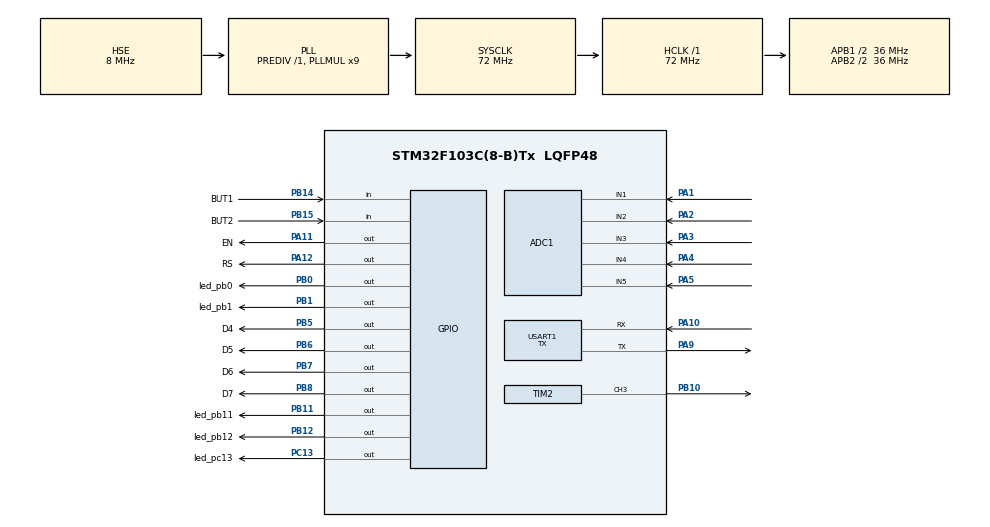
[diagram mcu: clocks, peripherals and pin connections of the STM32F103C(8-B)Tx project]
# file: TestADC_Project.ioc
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ADC1.Channel-0\#ChannelRegularConversion=ADC_CHANNEL_1
ADC1.Channel-1\#ChannelRegularConversion=ADC_CHANNEL_2
ADC1.Channel-2\#ChannelRegularConversion=ADC_CHANNEL_3
ADC1.Channel-3\#ChannelRegularConversion=ADC_CHANNEL_4
ADC1.Channel-4\#ChannelRegularConversion=ADC_CHANNEL_5
ADC1.Channel-5\#ChannelRegularConversion=ADC_CHANNEL_TEMPSENSOR
ADC1.ExternalTrigConv=ADC_EXTERNALTRIGCONV_T3_TRGO
ADC1.NbrOfConversion=6
ADC1.NbrOfConversionFlag=1
ADC1.Rank-0\#ChannelRegularConversion=1
ADC1.Rank-1\#ChannelRegularConversion=2
ADC1.Rank-2\#ChannelRegularConversion=3
ADC1.Rank-3\#ChannelRegularConversion=4
ADC1.Rank-4\#ChannelRegularConversion=5
ADC1.Rank-5\#ChannelRegularConversion=6
ADC1.SamplingTime-0\#ChannelRegularConversion=ADC_SAMPLETIME_1CYCLE_5
ADC1.SamplingTime-1\#ChannelRegularConversion=ADC_SAMPLETIME_1CYCLE_5
ADC1.SamplingTime-2\#ChannelRegularConversion=ADC_SAMPLETIME_1CYCLE_5
ADC1.SamplingTime-3\#ChannelRegularConversion=ADC_SAMPLETIME_1CYCLE_5
ADC1.SamplingTime-4\#ChannelRegularConversion=ADC_SAMPLETIME_1CYCLE_5
ADC1.SamplingTime-5\#ChannelRegularConversion=ADC_SAMPLETIME_41CYCLES_5
ADC1.master=1
Dma.ADC1.0.Direction=DMA_PERIPH_TO_MEMORY
Dma.ADC1.0.Instance=DMA1_Channel1
Dma.ADC1.0.MemDataAlignment=DMA_MDATAALIGN_HALFWORD
Dma.ADC1.0.MemInc=DMA_MINC_ENABLE
Dma.ADC1.0.Mode=DMA_CIRCULAR
Dma.ADC1.0.PeriphDataAlignment=DMA_PDATAALIGN_HALFWORD
Dma.ADC1.0.PeriphInc=DMA_PINC_DISABLE
Dma.ADC1.0.Priority=DMA_PRIORITY_MEDIUM
Dma.Request0=ADC1
Dma.Request1=USART1_TX
Dma.USART1_TX.1.Direction=DMA_MEMORY_TO_PERIPH
Dma.USART1_TX.1.Instance=DMA1_Channel4
Dma.USART1_TX.1.MemDataAlignment=DMA_MDATAALIGN_BYTE
Dma.USART1_TX.1.MemInc=DMA_MINC_ENABLE
Dma.USART1_TX.1.Mode=DMA_NORMAL
Dma.USART1_TX.1.PeriphDataAlignment=DMA_PDATAALIGN_BYTE
Dma.USART1_TX.1.PeriphInc=DMA_PINC_DISABLE
Dma.USART1_TX.1.Priority=DMA_PRIORITY_LOW
Mcu.Family=STM32F1
Mcu.Name=STM32F103C(8-B)Tx
Mcu.Package=LQFP48
NVIC.DMA1_Channel1_IRQn=true\:0\:0\:false\:false\:true\:false\:true\:true
NVIC.DMA1_Channel4_IRQn=true\:0\:0\:false\:false\:true\:false\:true\:true
NVIC.PriorityGroup=NVIC_PRIORITYGROUP_4
NVIC.TIM1_UP_IRQn=true\:0\:0\:false\:false\:true\:true\:true\:true
NVIC.TIM3_IRQn=true\:0\:0\:false\:false\:true\:true\:true\:true
NVIC.TIM4_IRQn=true\:0\:0\:true\:false\:true\:true\:true\:true
NVIC.USART1_IRQn=true\:0\:0\:false\:false\:true\:true\:true\:true
PA1.Signal=ADCx_IN1
PA10.Mode=Asynchronous
PA10.Signal=USART1_RX
PA11.GPIO_Label=EN
PA11.GPIO_Speed=GPIO_SPEED_FREQ_HIGH
PA11.Signal=GPIO_Output
PA12.GPIO_Label=RS
PA12.GPIO_Speed=GPIO_SPEED_FREQ_HIGH
PA12.Signal=GPIO_Output
PA2.Signal=ADCx_IN2
PA3.Signal=ADCx_IN3
PA4.Signal=ADCx_IN4
PA5.Signal=ADCx_IN5
PA9.Mode=Asynchronous
PA9.Signal=USART1_TX
PB0.GPIO_Label=led_pb0
PB0.Signal=GPIO_Output
PB1.GPIO_Label=led_pb1
PB1.Signal=GPIO_Output
PB10.Signal=S_TIM2_CH3
PB11.GPIO_Label=led_pb11
PB11.Signal=GPIO_Output
PB12.GPIO_Label=led_pb12
PB12.Signal=GPIO_Output
PB14.GPIO_Label=BUT1
PB14.GPIO_PuPd=GPIO_PULLUP
PB14.Signal=GPIO_Input
PB15.GPIO_Label=BUT2
PB15.GPIO_PuPd=GPIO_PULLUP
PB15.Signal=GPIO_Input
PB5.GPIO_Label=D4
PB5.GPIO_Speed=GPIO_SPEED_FREQ_HIGH
PB5.Signal=GPIO_Output
PB6.GPIO_Label=D5
PB6.GPIO_Speed=GPIO_SPEED_FREQ_HIGH
PB6.Signal=GPIO_Output
PB7.GPIO_Label=D6
PB7.GPIO_Speed=GPIO_SPEED_FREQ_HIGH
PB7.Signal=GPIO_Output
PB8.GPIO_Label=D7
PB8.Signal=GPIO_Output
PC13-TAMPER-RTC.GPIO_Label=led_pc13
PC13-TAMPER-RTC.Signal=GPIO_Output
PD0-OSC_IN.Mode=HSE-External-Oscillator
PD0-OSC_IN.Signal=RCC_OSC_IN
PD1-OSC_OUT.Mode=HSE-External-Oscillator
PD1-OSC_OUT.Signal=RCC_OSC_OUT
ProjectManager.HeapSize=0x200
ProjectManager.StackSize=0x400
ProjectManager.TargetToolchain=STM32CubeIDE
RCC.ADCPresc=RCC_ADCPCLK2_DIV4
RCC.AHBFreq_Value=72000000
RCC.APB1CLKDivider=RCC_HCLK_DIV2
RCC.APB1Freq_Value=36000000
RCC.APB1TimFreq_Value=72000000
RCC.APB2CLKDivider=RCC_HCLK_DIV2
RCC.APB2Freq_Value=36000000
RCC.APB2TimFreq_Value=72000000
RCC.HCLKFreq_Value=72000000
RCC.PLLMUL=RCC_PLL_MUL9
RCC.PLLSourceVirtual=RCC_PLLSOURCE_HSE
RCC.SYSCLKFreq_VALUE=72000000
RCC.SYSCLKSource=RCC_SYSCLKSOURCE_PLLCLK
RCC.USBFreq_Value=72000000
SH.ADCx_IN1.0=ADC1_IN1,IN1
SH.ADCx_IN2.0=ADC1_IN2,IN2
SH.ADCx_IN3.0=ADC1_IN3,IN3
SH.ADCx_IN4.0=ADC1_IN4,IN4
SH.ADCx_IN5.0=ADC1_IN5,IN5
SH.S_TIM2_CH3.0=TIM2_CH3,PWM Generation3 CH3
TIM1.Period=999
TIM1.Prescaler=720
TIM1.TIM_MasterOutputTrigger=TIM_TRGO_UPDATE
TIM2.Channel-PWM\ Generation3\ CH3=TIM_CHANNEL_3
TIM2.Period=4096
TIM2.Prescaler=72
TIM3.Period=9
TIM3.Prescaler=720
TIM3.TIM_MasterOutputTrigger=TIM_TRGO_UPDATE
TIM4.Period=200
TIM4.Prescaler=7200
TIM4.TIM_MasterOutputTrigger=TIM_TRGO_UPDATE
USART1.Mode=MODE_TX
USART1.VirtualMode=VM_ASYNC
VP_ADC1_TempSens_Input.Mode=IN-TempSens
VP_TIM1_VS_ClockSourceINT.Mode=Internal
VP_TIM3_VS_ClockSourceINT.Mode=Internal
VP_TIM4_VS_ClockSourceINT.Mode=Internal
board=custom

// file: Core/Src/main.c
/* USER CODE BEGIN Header */
/**
  ******************************************************************************
  * @file           : main.c
  * @brief          : Main program body
  ******************************************************************************
  * @attention
  *
  * Copyright (c) 2025 STMicroelectronics.
  * All rights reserved.
  *
  * This software is licensed under terms that can be found in the LICENSE file
  * in the root directory of this software component.
  * If no LICENSE file comes with this software, it is provided AS-IS.
  *
  ******************************************************************************
  */
/* USER CODE END Header */
#include "main.h"

/* USER CODE BEGIN Includes */

#include <string.h>
#include <stdio.h>
#include "lcd.h"

/* USER CODE END Includes */

/* USER CODE BEGIN PD */

#define tV_25   1.34f	// Напряжение (в вольтах) на датчике при температуре 25 °C.
#define tSlope  0.0043f	// изменение напряжения (в вольтах) при изменении температуры на градус.
#define Vref    3.3f	// Образцовое напряжение АЦП (в вольтах).

#define ADC_SAMPLES 50	// Кол-во отсчётов которые нужно накопить для усреднения
#define CHANNELS_CNT 6	// Кол-во кактивных аналов АЦП участвующих в получении значений

#define UART_TIMER_CNT 50	// Период в отсчётах по 20мс для выдачи информации АЦП по UART1
#define LCD_MS_TIMEOUT 500	// Период в мс выдачи информации по LCD1602

typedef enum {	// Для хранения состояния кнопок BTN1, BTN2
	NO_PRESS,
	PRESS,
	RELEASE
} BTN_STATE;

/* USER CODE END PD */

ADC_HandleTypeDef hadc1;
DMA_HandleTypeDef hdma_adc1;

TIM_HandleTypeDef htim1;
TIM_HandleTypeDef htim2;
TIM_HandleTypeDef htim3;
TIM_HandleTypeDef htim4;

UART_HandleTypeDef huart1;
DMA_HandleTypeDef hdma_usart1_tx;

/* USER CODE BEGIN PV */

// Буфер для получения определённого кол-ва значений со всех активных каналов АЦП
// (*2) для того чтобы можно было использовать прерывания по половине заполнения буфера и по целому буферу
uint16_t adc_buffer[ADC_SAMPLES * CHANNELS_CNT * 2] = {0};
float adc1_v, adc2_v, adc3_v, adc4_v, adc5_v;	// Для хранения усреднённых значений АЦП по 5 каналам
float adc_temperature;	// и температурному датчику
uint8_t but1_shift_reg = 0, but2_shift_reg = 0;	// Сдвиговые регистры для отслеживания нажатий\отпусканий кнопок
BTN_STATE btn1_state = NO_PRESS, btn2_state = NO_PRESS;	// Текущее состояние кнопок
char buf[100];	// буфер для UART-строки(с нажатием\отжатием кнопок) с запасом по кол-ву символов
uint8_t size;	// Для подсчёта текущей	 длины строки UART
char uart_buf[100];	// буфер для UART-строки(с усреднениями АЦП) с запасом по кол-ву символов
uint8_t uart_size;	// Для подсчёта текущей	 длины строки UART(с усреднениями АЦП)
uint8_t timer4_counter = 0;	// Счётчик кол-ва срабатываний Таймера4
uint8_t uart_mutex = 1;	// Мьютекс разрешения передачи через UART

/* USER CODE END PV */

void SystemClock_Config(void);
static void MX_GPIO_Init(void);
static void MX_DMA_Init(void);
static void MX_USART1_UART_Init(void);
static void MX_TIM1_Init(void);
static void MX_TIM3_Init(void);
static void MX_ADC1_Init(void);
static void MX_TIM2_Init(void);
static void MX_TIM4_Init(void);

/* USER CODE BEGIN 0 */

// Усреднение значений АЦП из половины кольцевого буфера
void averaging_adc_values(uint16_t *buffer) {

    uint32_t sum[6] = {0,0,0,0,0,0};	// Для целочисленных сумм значений соответствующих каналов
    uint16_t pwm_value;	// Для новой скважности PWM

    for (int i = 0; i < ADC_SAMPLES; i++) {
    	sum[0] += buffer[i * CHANNELS_CNT];	// Суммируем значения полученные от канала за все отсчёты
    	sum[1] += buffer[1 + i * CHANNELS_CNT];
    	sum[2] += buffer[2 + i * CHANNELS_CNT];
    	sum[3] += buffer[3 + i * CHANNELS_CNT];
    	sum[4] += buffer[4 + i * CHANNELS_CNT];
    	sum[5] += buffer[5 + i * CHANNELS_CNT];
    }

    // Значение CounterAutoReload специально задано 4096, чтобы без преобразований переписывать значение АЦП1
    pwm_value = (sum[0] / ADC_SAMPLES);	// Новое значение для скважности ШиМа
    if (pwm_value < 2)
    	pwm_value = 2;	// Ограничиваем минимально возможную скважность (1мкс плохо видит шинный анализатор)
    TIM2->CCR3 = pwm_value;	// Установка новой скважности

    adc1_v = (float)((sum[0] / ADC_SAMPLES)*(Vref / 0xFFF));	// Для получения значений в диапазоне 0В - 3.3В
    adc2_v = (float)((sum[1] / ADC_SAMPLES)*(Vref / 0xFFF));
    adc3_v = (float)((sum[2] / ADC_SAMPLES)*(Vref / 0xFFF));
    adc4_v = (float)((sum[3] / ADC_SAMPLES)*(Vref / 0xFFF));
    adc5_v = (float)((sum[4] / ADC_SAMPLES)*(Vref / 0xFFF));

    /*
    adc1_v_copy = adc1_v;
    adc2_v_copy = adc2_v;
    adc3_v_copy = adc3_v;
    adc4_v_copy = adc4_v;
    adc5_v_copy = adc5_v;
    */

    adc_temperature = (float)((sum[5] / ADC_SAMPLES)*(Vref / 0xFFF));	// Для получения значения напряжения на температурном датчике
    adc_temperature = (tV_25 - adc_temperature)/tSlope + 25;   			// Температура в градусах (формула пересчёта найдена на форумах)
}

/* USER CODE END 0 */

int main(void)
{
  /* USER CODE BEGIN 1 */

	uint32_t now_lcd = 0, then_lcd = 0;	// Для отсчёта интервалов времени между выдачами по LCD1602
	char lcd_str[16];	// строка для отображения на LCD1602
	uint8_t str_size;	// Для подсчёта текущей	 длины строки для вывода на LCD1602

  /* USER CODE END 1 */

  /* MCU Configuration--------------------------------------------------------*/

  /* Reset of all peripherals, Initializes the Flash interface and the Systick. */
  HAL_Init();

  /* Configure the system clock */
  SystemClock_Config();

  /* Initialize all configured peripherals */
  MX_GPIO_Init();
  MX_DMA_Init();
  MX_USART1_UART_Init();
  MX_TIM1_Init();
  MX_TIM3_Init();
  MX_ADC1_Init();
  MX_TIM2_Init();
  MX_TIM4_Init();
  /* USER CODE BEGIN 2 */

	LCD_init();	// инициализация дисплея LCD1602
	// Разрешён ScanConversionMode для того чтобы можно было опрашивать несколько каналов АЦП подряд
	// В качестве триггера для запуска АЦП выступают прерывания от Таймера3
	HAL_ADCEx_Calibration_Start(&hadc1);	// Калибровка АЦП
	HAL_ADC_Start_DMA(&hadc1, (uint32_t *)adc_buffer, ADC_SAMPLES * CHANNELS_CNT * 2);	// Запуск АЦП с сохранением отсчётов через DMA в кольцевой буфер
	HAL_TIM_Base_Start_IT(&htim1);	// Таймер для отсчёта 5мс (опрос кнопок BUT1, BUT2 в прерывании)
	HAL_TIM_Base_Start_IT(&htim3);	// Таймер для отсчёта 100мкс(10КГц) для запуска АЦП
	HAL_TIM_Base_Start_IT(&htim4);	// Таймер 20мс для вывода информации по UART_DMA
	HAL_TIM_PWM_Start(&htim2, TIM_CHANNEL_3);	// Запуск генерации PWM (TIM2->CH3)
	TIM2->CCR3 = 1;	// Установка начального значения скважности PWM
	timer4_counter = 0;	// Счётчик для отслеживания секундных интервалов с помощью Таймера4(20мс)

  /* USER CODE END 2 */

  /* Infinite loop */
  while (1)
  {

    /* USER CODE BEGIN 3 */

	// Вывод усреднённых значений на LCD1602 каждые 500мс
	now_lcd = HAL_GetTick();
	if ((now_lcd - then_lcd) >= LCD_MS_TIMEOUT)
	{
		then_lcd = now_lcd;

		// Формирование строки для дальнейшей выдачи по UART в Таймере4. Формируется здесь, иначе сбоит sprintf()
		if (uart_mutex == 1)
		{
			sprintf(uart_buf, "ts = %2ddg, u1 = %2.1fV, u2 = %2.1fV, u3 = %2.1fV, u4 = %2.1fV, u5 = %2.1fV\n",
							(int)adc_temperature, adc1_v, adc2_v, adc3_v, adc4_v, adc5_v);
			uart_size = strlen(uart_buf);
		}

		LCD_SetPos(0, 0);	// Перевод курсора на 0 символ 0 строки (отсчёт с нуля)
		sprintf(lcd_str, "%3ddg %2.1fv %2.1fv", (int)adc_temperature, adc1_v, adc2_v);
		str_size = strlen(lcd_str);
		if (str_size < 16)
			lcd_str[str_size] = 0;	// Признак завершения строки
		LCD_String(lcd_str);

		LCD_SetPos(1, 1);	// Перевод курсора на 1 символ 1 строки (для выравнивания строк)
		sprintf(lcd_str, "%2.1fv %2.1fv %2.1fv", adc3_v, adc4_v, adc5_v);
		str_size = strlen(lcd_str);
		if (str_size < 16)
			lcd_str[str_size] = 0;
		LCD_String(lcd_str);
	}

  }
  /* USER CODE END 3 */
}

void SystemClock_Config(void)
{
  RCC_OscInitTypeDef RCC_OscInitStruct = {0};
  RCC_ClkInitTypeDef RCC_ClkInitStruct = {0};
  RCC_PeriphCLKInitTypeDef PeriphClkInit = {0};

  /** Initializes the RCC Oscillators according to the specified parameters
  * in the RCC_OscInitTypeDef structure.
  */
  RCC_OscInitStruct.OscillatorType = RCC_OSCILLATORTYPE_HSE;
  RCC_OscInitStruct.HSEState = RCC_HSE_ON;
  RCC_OscInitStruct.HSEPredivValue = RCC_HSE_PREDIV_DIV1;
  RCC_OscInitStruct.HSIState = RCC_HSI_ON;
  RCC_OscInitStruct.PLL.PLLState = RCC_PLL_ON;
  RCC_OscInitStruct.PLL.PLLSource = RCC_PLLSOURCE_HSE;
  RCC_OscInitStruct.PLL.PLLMUL = RCC_PLL_MUL9;
  if (HAL_RCC_OscConfig(&RCC_OscInitStruct) != HAL_OK)
  {
    Error_Handler();
  }

  /** Initializes the CPU, AHB and APB buses clocks
  */
  RCC_ClkInitStruct.ClockType = RCC_CLOCKTYPE_HCLK|RCC_CLOCKTYPE_SYSCLK
                              |RCC_CLOCKTYPE_PCLK1|RCC_CLOCKTYPE_PCLK2;
  RCC_ClkInitStruct.SYSCLKSource = RCC_SYSCLKSOURCE_PLLCLK;
  RCC_ClkInitStruct.AHBCLKDivider = RCC_SYSCLK_DIV1;
  RCC_ClkInitStruct.APB1CLKDivider = RCC_HCLK_DIV2;
  RCC_ClkInitStruct.APB2CLKDivider = RCC_HCLK_DIV2;

  if (HAL_RCC_ClockConfig(&RCC_ClkInitStruct, FLASH_LATENCY_2) != HAL_OK)
  {
    Error_Handler();
  }
  PeriphClkInit.PeriphClockSelection = RCC_PERIPHCLK_ADC;
  PeriphClkInit.AdcClockSelection = RCC_ADCPCLK2_DIV4;
  if (HAL_RCCEx_PeriphCLKConfig(&PeriphClkInit) != HAL_OK)
  {
    Error_Handler();
  }
}

static void MX_ADC1_Init(void)
{

  ADC_ChannelConfTypeDef sConfig = {0};

  /** Common config
  */
  hadc1.Instance = ADC1;
  hadc1.Init.ScanConvMode = ADC_SCAN_ENABLE;
  hadc1.Init.ContinuousConvMode = DISABLE;
  hadc1.Init.DiscontinuousConvMode = DISABLE;
  hadc1.Init.ExternalTrigConv = ADC_EXTERNALTRIGCONV_T3_TRGO;
  hadc1.Init.DataAlign = ADC_DATAALIGN_RIGHT;
  hadc1.Init.NbrOfConversion = 6;
  if (HAL_ADC_Init(&hadc1) != HAL_OK)
  {
    Error_Handler();
  }

  /** Configure Regular Channel
  */
  sConfig.Channel = ADC_CHANNEL_1;
  sConfig.Rank = ADC_REGULAR_RANK_1;
  sConfig.SamplingTime = ADC_SAMPLETIME_1CYCLE_5;
  if (HAL_ADC_ConfigChannel(&hadc1, &sConfig) != HAL_OK)
  {
    Error_Handler();
  }

  /** Configure Regular Channel
  */
  sConfig.Channel = ADC_CHANNEL_2;
  sConfig.Rank = ADC_REGULAR_RANK_2;
  if (HAL_ADC_ConfigChannel(&hadc1, &sConfig) != HAL_OK)
  {
    Error_Handler();
  }

  /** Configure Regular Channel
  */
  sConfig.Channel = ADC_CHANNEL_3;
  sConfig.Rank = ADC_REGULAR_RANK_3;
  if (HAL_ADC_ConfigChannel(&hadc1, &sConfig) != HAL_OK)
  {
    Error_Handler();
  }

  /** Configure Regular Channel
  */
  sConfig.Channel = ADC_CHANNEL_4;
  sConfig.Rank = ADC_REGULAR_RANK_4;
  if (HAL_ADC_ConfigChannel(&hadc1, &sConfig) != HAL_OK)
  {
    Error_Handler();
  }

  /** Configure Regular Channel
  */
  sConfig.Channel = ADC_CHANNEL_5;
  sConfig.Rank = ADC_REGULAR_RANK_5;
  if (HAL_ADC_ConfigChannel(&hadc1, &sConfig) != HAL_OK)
  {
    Error_Handler();
  }

  /** Configure Regular Channel
  */
  sConfig.Channel = ADC_CHANNEL_TEMPSENSOR;
  sConfig.Rank = ADC_REGULAR_RANK_6;
  sConfig.SamplingTime = ADC_SAMPLETIME_41CYCLES_5;
  if (HAL_ADC_ConfigChannel(&hadc1, &sConfig) != HAL_OK)
  {
    Error_Handler();
  }

}

static void MX_TIM1_Init(void)
{

  TIM_ClockConfigTypeDef sClockSourceConfig = {0};
  TIM_MasterConfigTypeDef sMasterConfig = {0};

  htim1.Instance = TIM1;
  htim1.Init.Prescaler = 720;
  htim1.Init.CounterMode = TIM_COUNTERMODE_UP;
  htim1.Init.Period = 999;
  htim1.Init.ClockDivision = TIM_CLOCKDIVISION_DIV1;
  htim1.Init.RepetitionCounter = 0;
  htim1.Init.AutoReloadPreload = TIM_AUTORELOAD_PRELOAD_DISABLE;
  if (HAL_TIM_Base_Init(&htim1) != HAL_OK)
  {
    Error_Handler();
  }
  sClockSourceConfig.ClockSource = TIM_CLOCKSOURCE_INTERNAL;
  if (HAL_TIM_ConfigClockSource(&htim1, &sClockSourceConfig) != HAL_OK)
  {
    Error_Handler();
  }
  sMasterConfig.MasterOutputTrigger = TIM_TRGO_UPDATE;
  sMasterConfig.MasterSlaveMode = TIM_MASTERSLAVEMODE_DISABLE;
  if (HAL_TIMEx_MasterConfigSynchronization(&htim1, &sMasterConfig) != HAL_OK)
  {
    Error_Handler();
  }

}

static void MX_TIM2_Init(void)
{

  TIM_MasterConfigTypeDef sMasterConfig = {0};
  TIM_OC_InitTypeDef sConfigOC = {0};

  htim2.Instance = TIM2;
  htim2.Init.Prescaler = 72;
  htim2.Init.CounterMode = TIM_COUNTERMODE_UP;
  htim2.Init.Period = 4096;
  htim2.Init.ClockDivision = TIM_CLOCKDIVISION_DIV1;
  htim2.Init.AutoReloadPreload = TIM_AUTORELOAD_PRELOAD_DISABLE;
  if (HAL_TIM_PWM_Init(&htim2) != HAL_OK)
  {
    Error_Handler();
  }
  sMasterConfig.MasterOutputTrigger = TIM_TRGO_RESET;
  sMasterConfig.MasterSlaveMode = TIM_MASTERSLAVEMODE_DISABLE;
  if (HAL_TIMEx_MasterConfigSynchronization(&htim2, &sMasterConfig) != HAL_OK)
  {
    Error_Handler();
  }
  sConfigOC.OCMode = TIM_OCMODE_PWM1;
  sConfigOC.Pulse = 0;
  sConfigOC.OCPolarity = TIM_OCPOLARITY_HIGH;
  sConfigOC.OCFastMode = TIM_OCFAST_DISABLE;
  if (HAL_TIM_PWM_ConfigChannel(&htim2, &sConfigOC, TIM_CHANNEL_3) != HAL_OK)
  {
    Error_Handler();
  }
  HAL_TIM_MspPostInit(&htim2);

}

static void MX_TIM3_Init(void)
{

  TIM_ClockConfigTypeDef sClockSourceConfig = {0};
  TIM_MasterConfigTypeDef sMasterConfig = {0};

  htim3.Instance = TIM3;
  htim3.Init.Prescaler = 720;
  htim3.Init.CounterMode = TIM_COUNTERMODE_UP;
  htim3.Init.Period = 9;
  htim3.Init.ClockDivision = TIM_CLOCKDIVISION_DIV1;
  htim3.Init.AutoReloadPreload = TIM_AUTORELOAD_PRELOAD_DISABLE;
  if (HAL_TIM_Base_Init(&htim3) != HAL_OK)
  {
    Error_Handler();
  }
  sClockSourceConfig.ClockSource = TIM_CLOCKSOURCE_INTERNAL;
  if (HAL_TIM_ConfigClockSource(&htim3, &sClockSourceConfig) != HAL_OK)
  {
    Error_Handler();
  }
  sMasterConfig.MasterOutputTrigger = TIM_TRGO_UPDATE;
  sMasterConfig.MasterSlaveMode = TIM_MASTERSLAVEMODE_DISABLE;
  if (HAL_TIMEx_MasterConfigSynchronization(&htim3, &sMasterConfig) != HAL_OK)
  {
    Error_Handler();
  }

}

static void MX_TIM4_Init(void)
{

  TIM_ClockConfigTypeDef sClockSourceConfig = {0};
  TIM_MasterConfigTypeDef sMasterConfig = {0};

  htim4.Instance = TIM4;
  htim4.Init.Prescaler = 7200;
  htim4.Init.CounterMode = TIM_COUNTERMODE_UP;
  htim4.Init.Period = 200;
  htim4.Init.ClockDivision = TIM_CLOCKDIVISION_DIV1;
  htim4.Init.AutoReloadPreload = TIM_AUTORELOAD_PRELOAD_DISABLE;
  if (HAL_TIM_Base_Init(&htim4) != HAL_OK)
  {
    Error_Handler();
  }
  sClockSourceConfig.ClockSource = TIM_CLOCKSOURCE_INTERNAL;
  if (HAL_TIM_ConfigClockSource(&htim4, &sClockSourceConfig) != HAL_OK)
  {
    Error_Handler();
  }
  sMasterConfig.MasterOutputTrigger = TIM_TRGO_UPDATE;
  sMasterConfig.MasterSlaveMode = TIM_MASTERSLAVEMODE_DISABLE;
  if (HAL_TIMEx_MasterConfigSynchronization(&htim4, &sMasterConfig) != HAL_OK)
  {
    Error_Handler();
  }

}

static void MX_USART1_UART_Init(void)
{

  huart1.Instance = USART1;
  huart1.Init.BaudRate = 115200;
  huart1.Init.WordLength = UART_WORDLENGTH_8B;
  huart1.Init.StopBits = UART_STOPBITS_1;
  huart1.Init.Parity = UART_PARITY_NONE;
  huart1.Init.Mode = UART_MODE_TX;
  huart1.Init.HwFlowCtl = UART_HWCONTROL_NONE;
  huart1.Init.OverSampling = UART_OVERSAMPLING_16;
  if (HAL_UART_Init(&huart1) != HAL_OK)
  {
    Error_Handler();
  }

}

static void MX_DMA_Init(void)
{

  /* DMA controller clock enable */
  __HAL_RCC_DMA1_CLK_ENABLE();

  /* DMA interrupt init */
  /* DMA1_Channel1_IRQn interrupt configuration */
  HAL_NVIC_SetPriority(DMA1_Channel1_IRQn, 0, 0);
  HAL_NVIC_EnableIRQ(DMA1_Channel1_IRQn);
  /* DMA1_Channel4_IRQn interrupt configuration */
  HAL_NVIC_SetPriority(DMA1_Channel4_IRQn, 0, 0);
  HAL_NVIC_EnableIRQ(DMA1_Channel4_IRQn);

}

static void MX_GPIO_Init(void)
{
  GPIO_InitTypeDef GPIO_InitStruct = {0};

  /* GPIO Ports Clock Enable */
  __HAL_RCC_GPIOC_CLK_ENABLE();
  __HAL_RCC_GPIOD_CLK_ENABLE();
  __HAL_RCC_GPIOA_CLK_ENABLE();
  __HAL_RCC_GPIOB_CLK_ENABLE();

  /*Configure GPIO pin Output Level */
  HAL_GPIO_WritePin(led_pc13_GPIO_Port, led_pc13_Pin, GPIO_PIN_RESET);

  /*Configure GPIO pin Output Level */
  HAL_GPIO_WritePin(GPIOB, led_pb0_Pin|led_pb1_Pin|led_pb11_Pin|led_pb12_Pin
                          |D4_Pin|D5_Pin|D6_Pin|D7_Pin, GPIO_PIN_RESET);

  /*Configure GPIO pin Output Level */
  HAL_GPIO_WritePin(GPIOA, EN_Pin|RS_Pin, GPIO_PIN_RESET);

  /*Configure GPIO pin : led_pc13_Pin */
  GPIO_InitStruct.Pin = led_pc13_Pin;
  GPIO_InitStruct.Mode = GPIO_MODE_OUTPUT_PP;
  GPIO_InitStruct.Pull = GPIO_NOPULL;
  GPIO_InitStruct.Speed = GPIO_SPEED_FREQ_LOW;
  HAL_GPIO_Init(led_pc13_GPIO_Port, &GPIO_InitStruct);

  /*Configure GPIO pins : led_pb0_Pin led_pb1_Pin led_pb11_Pin led_pb12_Pin
                           D7_Pin */
  GPIO_InitStruct.Pin = led_pb0_Pin|led_pb1_Pin|led_pb11_Pin|led_pb12_Pin
                          |D7_Pin;
  GPIO_InitStruct.Mode = GPIO_MODE_OUTPUT_PP;
  GPIO_InitStruct.Pull = GPIO_NOPULL;
  GPIO_InitStruct.Speed = GPIO_SPEED_FREQ_LOW;
  HAL_GPIO_Init(GPIOB, &GPIO_InitStruct);

  /*Configure GPIO pins : BUT1_Pin BUT2_Pin */
  GPIO_InitStruct.Pin = BUT1_Pin|BUT2_Pin;
  GPIO_InitStruct.Mode = GPIO_MODE_INPUT;
  GPIO_InitStruct.Pull = GPIO_PULLUP;
  HAL_GPIO_Init(GPIOB, &GPIO_InitStruct);

  /*Configure GPIO pins : EN_Pin RS_Pin */
  GPIO_InitStruct.Pin = EN_Pin|RS_Pin;
  GPIO_InitStruct.Mode = GPIO_MODE_OUTPUT_PP;
  GPIO_InitStruct.Pull = GPIO_NOPULL;
  GPIO_InitStruct.Speed = GPIO_SPEED_FREQ_HIGH;
  HAL_GPIO_Init(GPIOA, &GPIO_InitStruct);

  /*Configure GPIO pins : D4_Pin D5_Pin D6_Pin */
  GPIO_InitStruct.Pin = D4_Pin|D5_Pin|D6_Pin;
  GPIO_InitStruct.Mode = GPIO_MODE_OUTPUT_PP;
  GPIO_InitStruct.Pull = GPIO_NOPULL;
  GPIO_InitStruct.Speed = GPIO_SPEED_FREQ_HIGH;
  HAL_GPIO_Init(GPIOB, &GPIO_InitStruct);

}

/* USER CODE BEGIN 4 */

// Колбэк прерываний от Таймеров
void HAL_TIM_PeriodElapsedCallback(TIM_HandleTypeDef *htim)
{
	// Предназначен для обработки кнопок PB14(BUT1), PB15(BUT2)
	if (htim->Instance == TIM1)
	{
		HAL_GPIO_TogglePin(led_pb0_GPIO_Port, led_pb0_Pin);	// Отладочная мигалка

		// Для BUT1
		but1_shift_reg <<= 1;	// Сдвигаем регистр на 1 разряд влево
		if (HAL_GPIO_ReadPin(BUT1_GPIO_Port, BUT1_Pin) == GPIO_PIN_RESET)	// Опрашиваем пин к которому подключена кнопка1
			but1_shift_reg |= 1;	// Если в этот момент кнопка нажата - задвигаем в младший разряд единичку

		if (but1_shift_reg == 0x0F)
			btn1_state = PRESS;	// При такой комбинации в сдвиговом регистре фиксируется нажатие на кнопку
		else if (but1_shift_reg == 0xF0)
			btn1_state = RELEASE;	// При такой комбинации в сдвиговом регистре фиксируется отпускание кнопки

		// Для BUT2
		but2_shift_reg <<= 1;
		if (HAL_GPIO_ReadPin(BUT2_GPIO_Port, BUT2_Pin) == GPIO_PIN_RESET)	// Опрашиваем пин к которому подключена кнопка2
			but2_shift_reg |= 1;

		if (but2_shift_reg == 0x0F)
			btn2_state = PRESS;
		else if (but2_shift_reg == 0xF0)
			btn2_state = RELEASE;
	}

	// Отслеживается момент запуска преобразований на АЦП
	else if (htim->Instance == TIM3)
		HAL_GPIO_TogglePin(led_pb1_GPIO_Port,  led_pb1_Pin);

	// Таймер для формирования выдачи по UART через DMA
	else if (htim->Instance == TIM4)
	{
		timer4_counter++;

		// Вывод строки с усреднёнными значениями по UART
		if ((timer4_counter > UART_TIMER_CNT) && (uart_mutex == 1))
		{
			uart_mutex = 0;
			timer4_counter = 0;
			HAL_TIM_Base_Stop_IT(&htim4);	// Запрещаем работу прерываний Таймера4 (чтобы не случилось набегания при повторном срабатывании)
			// Выдача по UART записанной заранее строки (иначе сбоит, не проходит sprintf())
			HAL_UART_Transmit_DMA(&huart1, (uint8_t*)uart_buf, uart_size);
		}
		// Вывод нажатия\отпускания BUT1
		else if ((btn1_state != NO_PRESS) && (uart_mutex == 1))
		{
			uart_mutex = 0;
			if (btn1_state == PRESS)
				sprintf(buf, "BUT1 pressed\n");
			else
				sprintf(buf, "BUT1 released\n");
			size = strlen(buf);
			btn1_state = NO_PRESS;

			HAL_UART_Transmit_DMA(&huart1, (uint8_t*)buf, size);
		}
		// Вывод нажатия\отпускания BUT2
		else if ((btn2_state != NO_PRESS) && (uart_mutex == 1))
		{
			uart_mutex = 0;
			if (btn2_state == PRESS)
				sprintf(buf, "BUT2 pressed\n");
			else
				sprintf(buf, "BUT2 released\n");
			size = strlen(buf);
			btn2_state = NO_PRESS;
			uart_mutex = 0;
			HAL_UART_Transmit_DMA(&huart1, (uint8_t*)buf, size);
		}

		HAL_GPIO_TogglePin(led_pb11_GPIO_Port,  led_pb11_Pin);
	}
}

// Прерывания по половине заполнения кольцевого буфера DMA значениями АЦП
void HAL_ADC_ConvHalfCpltCallback(ADC_HandleTypeDef* hadc) {
    if(hadc->Instance == ADC1) //check if the interrupt comes from ACD1
    {
    	HAL_GPIO_TogglePin(led_pb12_GPIO_Port,  led_pb12_Pin);
    	averaging_adc_values(&adc_buffer[0]);	// Усреднеине значений из первой половины буфера
    }
}

// Прерывания по полному заполнению кольцевого буфера DMA значениями АЦП
void HAL_ADC_ConvCpltCallback(ADC_HandleTypeDef* hadc)
{
    if(hadc->Instance == ADC1) //check if the interrupt comes from ACD1
    {
    	HAL_GPIO_TogglePin(led_pb12_GPIO_Port,  led_pb12_Pin);
    	averaging_adc_values(&adc_buffer[ADC_SAMPLES * CHANNELS_CNT]);	// Усреднеине значений из второй половины буфера
    }
}

// завершена передача всех данных по UART_DMA
void HAL_UART_TxCpltCallback(UART_HandleTypeDef *huart)
{
	uart_mutex = 1;	// Отпускаем мьютекс
	HAL_TIM_Base_Start_IT(&htim4);	// Снова разрешаем работу прерываний Таймера4
}

/* USER CODE END 4 */

void Error_Handler(void)
{
  __disable_irq();
  while (1)
  {
  }
}
